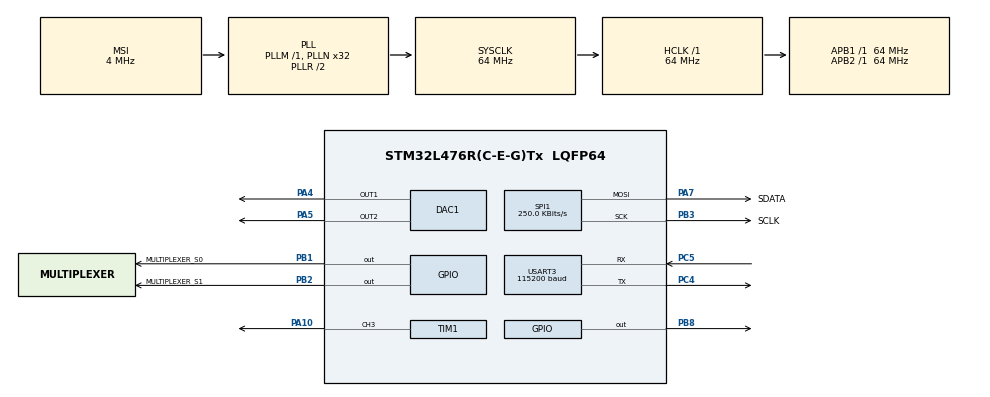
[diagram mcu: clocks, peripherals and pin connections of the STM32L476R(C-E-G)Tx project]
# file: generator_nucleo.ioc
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DAC1.DAC_Channel-DAC_OUT2=DAC_CHANNEL_2
FREERTOS.INCLUDE_vTaskDelayUntil=1
FREERTOS.Tasks01=defaultTask,0,128,StartDefaultTask,Default,NULL,Dynamic,NULL,NULL;FreeRTOS_1ms,0,128,RTOS_1ms,Default,NULL,Dynamic,NULL,NULL;FreeRTOS_10ms,0,128,RTOS_10ms,Default,NULL,Dynamic,NULL,NULL;FreeRTOS_100ms,0,128,RTOS_100ms,Default,NULL,Dynamic,NULL,NULL;FreeRTOS_1000ms,0,128,RTOS_1000ms,Default,NULL,Dynamic,NULL,NULL
FREERTOS.configGENERATE_RUN_TIME_STATS=1
FREERTOS.configTOTAL_HEAP_SIZE=4000
FREERTOS.configUSE_STATS_FORMATTING_FUNCTIONS=1
FREERTOS.configUSE_TRACE_FACILITY=1
Mcu.Family=STM32L4
Mcu.Name=STM32L476R(C-E-G)Tx
Mcu.Package=LQFP64
NVIC.PriorityGroup=NVIC_PRIORITYGROUP_4
NVIC.TIM2_IRQn=true\:5\:0\:false\:false\:true\:true\:true\:true
NVIC.USART3_IRQn=true\:5\:0\:false\:false\:true\:true\:true\:true
PA10.Signal=S_TIM1_CH3
PA13\ (JTMS-SWDIO).Mode=Serial_Wire
PA13\ (JTMS-SWDIO).Signal=SYS_JTMS-SWDIO
PA14\ (JTCK-SWCLK).Mode=Serial_Wire
PA14\ (JTCK-SWCLK).Signal=SYS_JTCK-SWCLK
PA4.Signal=COMP_DAC11_group
PA5.Signal=COMP_DAC12_group
PA7.GPIO_Label=SDATA
PA7.Mode=TX_Only_Simplex_Unidirect_Master
PA7.Signal=SPI1_MOSI
PB1.GPIO_Label=MULTIPLEXER_S0
PB1.Signal=GPIO_Output
PB2.GPIO_Label=MULTIPLEXER_S1
PB2.Signal=GPIO_Output
PB3\ (JTDO-TRACESWO).GPIO_Label=SCLK
PB3\ (JTDO-TRACESWO).Mode=TX_Only_Simplex_Unidirect_Master
PB3\ (JTDO-TRACESWO).Signal=SPI1_SCK
PB8.Signal=GPIO_Output
PC4.Mode=Asynchronous
PC4.Signal=USART3_TX
PC5.Mode=Asynchronous
PC5.Signal=USART3_RX
PH0-OSC_IN\ (PH0).Mode=HSE-External-Oscillator
PH0-OSC_IN\ (PH0).Signal=RCC_OSC_IN
PH1-OSC_OUT\ (PH1).Mode=HSE-External-Oscillator
PH1-OSC_OUT\ (PH1).Signal=RCC_OSC_OUT
ProjectManager.HeapSize=0x200
ProjectManager.StackSize=0x400
ProjectManager.TargetToolchain=STM32CubeIDE
RCC.AHBFreq_Value=64000000
RCC.APB1Freq_Value=64000000
RCC.APB1TimFreq_Value=64000000
RCC.APB2Freq_Value=64000000
RCC.APB2TimFreq_Value=64000000
RCC.CortexFreq_Value=64000000
RCC.HCLKFreq_Value=64000000
RCC.HSE_VALUE=8000000
RCC.HSI_VALUE=16000000
RCC.LSE_VALUE=32768
RCC.MSI_VALUE=4000000
RCC.PLLN=32
RCC.SYSCLKFreq_VALUE=64000000
RCC.SYSCLKSource=RCC_SYSCLKSOURCE_PLLCLK
RCC.VCOOutputFreq_Value=128000000
SH.COMP_DAC11_group.0=DAC1_OUT1,DAC_OUT1
SH.COMP_DAC12_group.0=DAC1_OUT2,DAC_OUT2
SH.S_TIM1_CH3.0=TIM1_CH3,PWM Generation3 CH3
SPI1.BaudRatePrescaler=SPI_BAUDRATEPRESCALER_256
SPI1.CLKPolarity=SPI_POLARITY_HIGH
SPI1.CalculateBaudRate=250.0 KBits/s
SPI1.DataSize=SPI_DATASIZE_16BIT
SPI1.Direction=SPI_DIRECTION_2LINES
SPI1.Mode=SPI_MODE_MASTER
SPI1.NSSPMode=SPI_NSS_PULSE_DISABLE
SPI1.VirtualType=VM_MASTER
TIM1.Channel-PWM\ Generation3\ CH3=TIM_CHANNEL_3
TIM1.Period=99
TIM2.Period=9
TIM2.Prescaler=63
USART3.BaudRate=115200
USART3.VirtualMode-Asynchronous=VM_ASYNC
VP_FREERTOS_VS_CMSIS_V1.Mode=CMSIS_V1
VP_TIM1_VS_ClockSourceINT.Mode=Internal
VP_TIM2_VS_ClockSourceINT.Mode=Internal
board=custom

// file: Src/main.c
/* USER CODE BEGIN Header */
/**
  ******************************************************************************
  * @file           : main.c
  * @brief          : Main program body
  ******************************************************************************
  * @attention
  *
  * <h2><center>&copy; Copyright (c) 2019 STMicroelectronics.
  * All rights reserved.</center></h2>
  *
  * This software component is licensed by ST under BSD 3-Clause license,
  * the "License"; You may not use this file except in compliance with the
  * License. You may obtain a copy of the License at:
  *                        opensource.org/licenses/BSD-3-Clause
  *
  ******************************************************************************
  */
/* USER CODE END Header */

#include "main.h"
#include "cmsis_os.h"

/* USER CODE BEGIN Includes */
#include <string.h>
#include <stdlib.h>
#include <stdio.h>
#include <math.h>

#include "Errors.h"
#include "SCPI.h"
/* USER CODE END Includes */

/* USER CODE BEGIN PD */
#define MAX_RECEIVE_BUFFER_SIZE 			(128u)
#define MAX_SEND_BUFFER_SIZE 				(512u)
#define MAX_SCPI_ANSWER_BUFFER_SIZE 		(512u)

#define PI 3.141592654

/* USER CODE END PD */

DAC_HandleTypeDef hdac1;

SPI_HandleTypeDef hspi1;

TIM_HandleTypeDef htim1;
TIM_HandleTypeDef htim2;

UART_HandleTypeDef huart3;

osThreadId defaultTaskHandle;
osThreadId FreeRTOS_1msHandle;
osThreadId FreeRTOS_10msHandle;
osThreadId FreeRTOS_100msHandle;
osThreadId FreeRTOS_1000msHandle;
/* USER CODE BEGIN PV */
uint32_t Microseconds = 0;
uint8_t PWM_Duty;
uint32_t PWM_Freq;
uint32_t PWM_Prescaler;

uint16_t control_reg[1];
uint16_t freq0_reg_lsb[1] = {0x4000};
uint16_t freq0_reg_msb[1] = {0x4000};
uint16_t freq1_reg_lsb[1] = {0x8000};
uint16_t freq1_reg_msb[1] = {0x8000};
uint16_t phase0_reg[1];
uint16_t exit_reg[1];

uint32_t freq;
uint32_t freq_reg_value;

signal_type_T signal_type;
signal_type_T setSignalType;
uint32_t setSignalFreq;
uint8_t setSignalFlag = 0;

uint16_t dacStep;
dac_signal_type_T dacSignalSelect;

uint16_t gauss_value;
uint16_t gauss_mean;
uint16_t gauss_std_dev;

multiplexer_select_T multiplexerChannelSelect;

uint8_t receive_buffer[MAX_RECEIVE_BUFFER_SIZE] = "";
uint8_t send_buffer[MAX_SEND_BUFFER_SIZE] = "";
uint8_t SCPI_buffer[MAX_SCPI_ANSWER_BUFFER_SIZE] = "";
volatile uint8_t receiveByte = '\0';

uint32_t i = 0;

/* USER CODE END PV */

void SystemClock_Config(void);
static void MX_GPIO_Init(void);
static void MX_SPI1_Init(void);
static void MX_DAC1_Init(void);
static void MX_TIM1_Init(void);
static void MX_USART3_UART_Init(void);
static void MX_TIM2_Init(void);
void StartDefaultTask(void const * argument);
void RTOS_1ms(void const * argument);
void RTOS_10ms(void const * argument);
void RTOS_100ms(void const * argument);
void RTOS_1000ms(void const * argument);

/* USER CODE BEGIN PFP */

void HAL_UART_RxCpltCallback(UART_HandleTypeDef *huart);

void HAL_TIM_PeriodElapsedCallback(TIM_HandleTypeDef *htim);

void HAL_Delay10Microseconds(uint32_t DelayMicroseconds);
void GenerateAD9833Signal(signal_type_T, uint32_t);
void SetSignalType(signal_type_T);
void CalculateFrequency(uint32_t);
void GeneratePWMSignal(uint8_t, uint32_t);
void MultiplexerChannelSelect(multiplexer_select_T);

double gaussrand(void);
/* USER CODE END PFP */

int main(void)
{
  /* USER CODE BEGIN 1 */
	control_reg[0] = 0x2100;
	phase0_reg[0] = 0xC000;

  /* USER CODE END 1 */

  /* MCU Configuration--------------------------------------------------------*/

  /* Reset of all peripherals, Initializes the Flash interface and the Systick. */
  HAL_Init();

  /* Configure the system clock */
  SystemClock_Config();

  /* Initialize all configured peripherals */
  MX_GPIO_Init();
  MX_SPI1_Init();
  MX_DAC1_Init();
  MX_TIM1_Init();
  MX_USART3_UART_Init();
  MX_TIM2_Init();
  /* USER CODE BEGIN 2 */

  HAL_UART_Receive_IT(&huart3, &receiveByte, 1);
  HAL_TIM_PWM_Start(&htim1, TIM_CHANNEL_3);
  HAL_TIM_Base_Start_IT(&htim2);
  HAL_DAC_Start(&hdac1, DAC_CHANNEL_1);
  HAL_DAC_Start(&hdac1, DAC_CHANNEL_2);

  PWM_Freq = 10000;
  PWM_Duty = 25;
  setSignalFreq = 5000;

  gauss_mean = 2048;
  gauss_std_dev = 500;

  GeneratePWMSignal(PWM_Duty, PWM_Freq);
  GenerateAD9833Signal(SIN, setSignalFreq);
  MultiplexerChannelSelect(AD9833);
  /* USER CODE END 2 */

  /* Create the thread(s) */
  /* definition and creation of defaultTask */
  osThreadDef(defaultTask, StartDefaultTask, osPriorityNormal, 0, 128);
  defaultTaskHandle = osThreadCreate(osThread(defaultTask), NULL);

  /* definition and creation of FreeRTOS_1ms */
  osThreadDef(FreeRTOS_1ms, RTOS_1ms, osPriorityNormal, 0, 128);
  FreeRTOS_1msHandle = osThreadCreate(osThread(FreeRTOS_1ms), NULL);

  /* definition and creation of FreeRTOS_10ms */
  osThreadDef(FreeRTOS_10ms, RTOS_10ms, osPriorityNormal, 0, 128);
  FreeRTOS_10msHandle = osThreadCreate(osThread(FreeRTOS_10ms), NULL);

  /* definition and creation of FreeRTOS_100ms */
  osThreadDef(FreeRTOS_100ms, RTOS_100ms, osPriorityNormal, 0, 128);
  FreeRTOS_100msHandle = osThreadCreate(osThread(FreeRTOS_100ms), NULL);

  /* definition and creation of FreeRTOS_1000ms */
  osThreadDef(FreeRTOS_1000ms, RTOS_1000ms, osPriorityNormal, 0, 128);
  FreeRTOS_1000msHandle = osThreadCreate(osThread(FreeRTOS_1000ms), NULL);

  /* Start scheduler */
  osKernelStart();

  /* We should never get here as control is now taken by the scheduler */

  /* Infinite loop */
  /* USER CODE BEGIN WHILE */
  while (1)
  {
	  HAL_Delay(1);
    /* USER CODE END WHILE */

  }
}

void SystemClock_Config(void)
{
  RCC_OscInitTypeDef RCC_OscInitStruct = {0};
  RCC_ClkInitTypeDef RCC_ClkInitStruct = {0};
  RCC_PeriphCLKInitTypeDef PeriphClkInit = {0};

  /** Initializes the CPU, AHB and APB busses clocks
  */
  RCC_OscInitStruct.OscillatorType = RCC_OSCILLATORTYPE_MSI;
  RCC_OscInitStruct.MSIState = RCC_MSI_ON;
  RCC_OscInitStruct.MSICalibrationValue = 0;
  RCC_OscInitStruct.MSIClockRange = RCC_MSIRANGE_6;
  RCC_OscInitStruct.PLL.PLLState = RCC_PLL_ON;
  RCC_OscInitStruct.PLL.PLLSource = RCC_PLLSOURCE_MSI;
  RCC_OscInitStruct.PLL.PLLM = 1;
  RCC_OscInitStruct.PLL.PLLN = 32;
  RCC_OscInitStruct.PLL.PLLP = RCC_PLLP_DIV7;
  RCC_OscInitStruct.PLL.PLLQ = RCC_PLLQ_DIV2;
  RCC_OscInitStruct.PLL.PLLR = RCC_PLLR_DIV2;
  if (HAL_RCC_OscConfig(&RCC_OscInitStruct) != HAL_OK)
  {
    Error_Handler();
  }
  /** Initializes the CPU, AHB and APB busses clocks
  */
  RCC_ClkInitStruct.ClockType = RCC_CLOCKTYPE_HCLK|RCC_CLOCKTYPE_SYSCLK
                              |RCC_CLOCKTYPE_PCLK1|RCC_CLOCKTYPE_PCLK2;
  RCC_ClkInitStruct.SYSCLKSource = RCC_SYSCLKSOURCE_PLLCLK;
  RCC_ClkInitStruct.AHBCLKDivider = RCC_SYSCLK_DIV1;
  RCC_ClkInitStruct.APB1CLKDivider = RCC_HCLK_DIV1;
  RCC_ClkInitStruct.APB2CLKDivider = RCC_HCLK_DIV1;

  if (HAL_RCC_ClockConfig(&RCC_ClkInitStruct, FLASH_LATENCY_3) != HAL_OK)
  {
    Error_Handler();
  }
  PeriphClkInit.PeriphClockSelection = RCC_PERIPHCLK_USART3;
  PeriphClkInit.Usart3ClockSelection = RCC_USART3CLKSOURCE_PCLK1;
  if (HAL_RCCEx_PeriphCLKConfig(&PeriphClkInit) != HAL_OK)
  {
    Error_Handler();
  }
  /** Configure the main internal regulator output voltage
  */
  if (HAL_PWREx_ControlVoltageScaling(PWR_REGULATOR_VOLTAGE_SCALE1) != HAL_OK)
  {
    Error_Handler();
  }
}

static void MX_DAC1_Init(void)
{

  DAC_ChannelConfTypeDef sConfig = {0};

  /** DAC Initialization
  */
  hdac1.Instance = DAC1;
  if (HAL_DAC_Init(&hdac1) != HAL_OK)
  {
    Error_Handler();
  }
  /** DAC channel OUT1 config
  */
  sConfig.DAC_SampleAndHold = DAC_SAMPLEANDHOLD_DISABLE;
  sConfig.DAC_Trigger = DAC_TRIGGER_NONE;
  sConfig.DAC_OutputBuffer = DAC_OUTPUTBUFFER_ENABLE;
  sConfig.DAC_ConnectOnChipPeripheral = DAC_CHIPCONNECT_DISABLE;
  sConfig.DAC_UserTrimming = DAC_TRIMMING_FACTORY;
  if (HAL_DAC_ConfigChannel(&hdac1, &sConfig, DAC_CHANNEL_1) != HAL_OK)
  {
    Error_Handler();
  }
  /** DAC channel OUT2 config
  */
  sConfig.DAC_ConnectOnChipPeripheral = DAC_CHIPCONNECT_DISABLE;
  if (HAL_DAC_ConfigChannel(&hdac1, &sConfig, DAC_CHANNEL_2) != HAL_OK)
  {
    Error_Handler();
  }

}

static void MX_SPI1_Init(void)
{

  /* SPI1 parameter configuration*/
  hspi1.Instance = SPI1;
  hspi1.Init.Mode = SPI_MODE_MASTER;
  hspi1.Init.Direction = SPI_DIRECTION_2LINES;
  hspi1.Init.DataSize = SPI_DATASIZE_16BIT;
  hspi1.Init.CLKPolarity = SPI_POLARITY_HIGH;
  hspi1.Init.CLKPhase = SPI_PHASE_1EDGE;
  hspi1.Init.NSS = SPI_NSS_SOFT;
  hspi1.Init.BaudRatePrescaler = SPI_BAUDRATEPRESCALER_256;
  hspi1.Init.FirstBit = SPI_FIRSTBIT_MSB;
  hspi1.Init.TIMode = SPI_TIMODE_DISABLE;
  hspi1.Init.CRCCalculation = SPI_CRCCALCULATION_DISABLE;
  hspi1.Init.CRCPolynomial = 7;
  hspi1.Init.CRCLength = SPI_CRC_LENGTH_DATASIZE;
  hspi1.Init.NSSPMode = SPI_NSS_PULSE_DISABLE;
  if (HAL_SPI_Init(&hspi1) != HAL_OK)
  {
    Error_Handler();
  }

}

static void MX_TIM1_Init(void)
{

  TIM_ClockConfigTypeDef sClockSourceConfig = {0};
  TIM_MasterConfigTypeDef sMasterConfig = {0};
  TIM_OC_InitTypeDef sConfigOC = {0};
  TIM_BreakDeadTimeConfigTypeDef sBreakDeadTimeConfig = {0};

  htim1.Instance = TIM1;
  htim1.Init.Prescaler = 0;
  htim1.Init.CounterMode = TIM_COUNTERMODE_UP;
  htim1.Init.Period = 99;
  htim1.Init.ClockDivision = TIM_CLOCKDIVISION_DIV1;
  htim1.Init.RepetitionCounter = 0;
  htim1.Init.AutoReloadPreload = TIM_AUTORELOAD_PRELOAD_DISABLE;
  if (HAL_TIM_Base_Init(&htim1) != HAL_OK)
  {
    Error_Handler();
  }
  sClockSourceConfig.ClockSource = TIM_CLOCKSOURCE_INTERNAL;
  if (HAL_TIM_ConfigClockSource(&htim1, &sClockSourceConfig) != HAL_OK)
  {
    Error_Handler();
  }
  if (HAL_TIM_PWM_Init(&htim1) != HAL_OK)
  {
    Error_Handler();
  }
  sMasterConfig.MasterOutputTrigger = TIM_TRGO_RESET;
  sMasterConfig.MasterOutputTrigger2 = TIM_TRGO2_RESET;
  sMasterConfig.MasterSlaveMode = TIM_MASTERSLAVEMODE_DISABLE;
  if (HAL_TIMEx_MasterConfigSynchronization(&htim1, &sMasterConfig) != HAL_OK)
  {
    Error_Handler();
  }
  sConfigOC.OCMode = TIM_OCMODE_PWM1;
  sConfigOC.Pulse = 0;
  sConfigOC.OCPolarity = TIM_OCPOLARITY_HIGH;
  sConfigOC.OCNPolarity = TIM_OCNPOLARITY_HIGH;
  sConfigOC.OCFastMode = TIM_OCFAST_DISABLE;
  sConfigOC.OCIdleState = TIM_OCIDLESTATE_RESET;
  sConfigOC.OCNIdleState = TIM_OCNIDLESTATE_RESET;
  if (HAL_TIM_PWM_ConfigChannel(&htim1, &sConfigOC, TIM_CHANNEL_3) != HAL_OK)
  {
    Error_Handler();
  }
  sBreakDeadTimeConfig.OffStateRunMode = TIM_OSSR_DISABLE;
  sBreakDeadTimeConfig.OffStateIDLEMode = TIM_OSSI_DISABLE;
  sBreakDeadTimeConfig.LockLevel = TIM_LOCKLEVEL_OFF;
  sBreakDeadTimeConfig.DeadTime = 0;
  sBreakDeadTimeConfig.BreakState = TIM_BREAK_DISABLE;
  sBreakDeadTimeConfig.BreakPolarity = TIM_BREAKPOLARITY_HIGH;
  sBreakDeadTimeConfig.BreakFilter = 0;
  sBreakDeadTimeConfig.Break2State = TIM_BREAK2_DISABLE;
  sBreakDeadTimeConfig.Break2Polarity = TIM_BREAK2POLARITY_HIGH;
  sBreakDeadTimeConfig.Break2Filter = 0;
  sBreakDeadTimeConfig.AutomaticOutput = TIM_AUTOMATICOUTPUT_DISABLE;
  if (HAL_TIMEx_ConfigBreakDeadTime(&htim1, &sBreakDeadTimeConfig) != HAL_OK)
  {
    Error_Handler();
  }
  HAL_TIM_MspPostInit(&htim1);

}

static void MX_TIM2_Init(void)
{

  TIM_ClockConfigTypeDef sClockSourceConfig = {0};
  TIM_MasterConfigTypeDef sMasterConfig = {0};

  htim2.Instance = TIM2;
  htim2.Init.Prescaler = 63;
  htim2.Init.CounterMode = TIM_COUNTERMODE_UP;
  htim2.Init.Period = 9;
  htim2.Init.ClockDivision = TIM_CLOCKDIVISION_DIV1;
  htim2.Init.AutoReloadPreload = TIM_AUTORELOAD_PRELOAD_DISABLE;
  if (HAL_TIM_Base_Init(&htim2) != HAL_OK)
  {
    Error_Handler();
  }
  sClockSourceConfig.ClockSource = TIM_CLOCKSOURCE_INTERNAL;
  if (HAL_TIM_ConfigClockSource(&htim2, &sClockSourceConfig) != HAL_OK)
  {
    Error_Handler();
  }
  sMasterConfig.MasterOutputTrigger = TIM_TRGO_RESET;
  sMasterConfig.MasterSlaveMode = TIM_MASTERSLAVEMODE_DISABLE;
  if (HAL_TIMEx_MasterConfigSynchronization(&htim2, &sMasterConfig) != HAL_OK)
  {
    Error_Handler();
  }

}

static void MX_USART3_UART_Init(void)
{

  huart3.Instance = USART3;
  huart3.Init.BaudRate = 115200;
  huart3.Init.WordLength = UART_WORDLENGTH_8B;
  huart3.Init.StopBits = UART_STOPBITS_1;
  huart3.Init.Parity = UART_PARITY_NONE;
  huart3.Init.Mode = UART_MODE_TX_RX;
  huart3.Init.HwFlowCtl = UART_HWCONTROL_NONE;
  huart3.Init.OverSampling = UART_OVERSAMPLING_16;
  huart3.Init.OneBitSampling = UART_ONE_BIT_SAMPLE_DISABLE;
  huart3.AdvancedInit.AdvFeatureInit = UART_ADVFEATURE_NO_INIT;
  if (HAL_UART_Init(&huart3) != HAL_OK)
  {
    Error_Handler();
  }

}

static void MX_GPIO_Init(void)
{
  GPIO_InitTypeDef GPIO_InitStruct = {0};

  /* GPIO Ports Clock Enable */
  __HAL_RCC_GPIOH_CLK_ENABLE();
  __HAL_RCC_GPIOA_CLK_ENABLE();
  __HAL_RCC_GPIOC_CLK_ENABLE();
  __HAL_RCC_GPIOB_CLK_ENABLE();

  /*Configure GPIO pin Output Level */
  HAL_GPIO_WritePin(GPIOB, MULTIPLEXER_S0_Pin|MULTIPLEXER_S1_Pin|GPIO_PIN_8, GPIO_PIN_RESET);

  /*Configure GPIO pins : MULTIPLEXER_S0_Pin MULTIPLEXER_S1_Pin PB8 */
  GPIO_InitStruct.Pin = MULTIPLEXER_S0_Pin|MULTIPLEXER_S1_Pin|GPIO_PIN_8;
  GPIO_InitStruct.Mode = GPIO_MODE_OUTPUT_PP;
  GPIO_InitStruct.Pull = GPIO_NOPULL;
  GPIO_InitStruct.Speed = GPIO_SPEED_FREQ_LOW;
  HAL_GPIO_Init(GPIOB, &GPIO_InitStruct);

}

/* USER CODE BEGIN 4 */

void HAL_UART_RxCpltCallback(UART_HandleTypeDef *huart) {
		ERROR_CODE errorCode = 0x00;
		static uint16_t counter = 0;
		static uint8_t FLAG_needsCleaning = 0;
		uint16_t size = 0;
		char sin[] = "SIN";
		char tri[] = "TRI";

		if (1 == FLAG_needsCleaning)
		{
			memset(receive_buffer,'\0',(MAX_RECEIVE_BUFFER_SIZE*sizeof(receive_buffer[0])));
			memset(send_buffer,'\0',(MAX_SEND_BUFFER_SIZE*sizeof(send_buffer[0])));
			memset(SCPI_buffer,'\0',(MAX_SCPI_ANSWER_BUFFER_SIZE*sizeof(SCPI_buffer[0])));
			FLAG_needsCleaning = 0;
		}

		if ('\r' != receiveByte && '\n' != receiveByte)
		{
			if (counter <= MAX_RECEIVE_BUFFER_SIZE)
			{
				receive_buffer[counter] = receiveByte;
			}
			++counter;
		}

		else
		{
			errorCode = Process_SCPI_Message(receive_buffer, SCPI_buffer);
			if(0 == errorCode)
				size = sprintf(send_buffer, "Message correct!: \"%s\".\n\r%s\n\r", receive_buffer,SCPI_buffer);
			else
				size = sprintf(send_buffer, "!!Message incorrect!! \n\rError Code: (%d) %s \n\rReceived message: \"%s\"\n\r", errorCode, Return_Error_Description(errorCode), receive_buffer);

			HAL_UART_Transmit_IT(&huart3, send_buffer, size);
			counter = 0;
			FLAG_needsCleaning = 1;
		}
		HAL_UART_Receive_IT(&huart3, &receiveByte, 1);
}

void GenerateAD9833Signal(signal_type_T signal_type, uint32_t freq)
{
	SetSignalType(signal_type);
	CalculateFrequency(freq);

    exit_reg[0] = control_reg[0] & 0xEFF;

    HAL_GPIO_WritePin(GPIOB, GPIO_PIN_8, GPIO_PIN_RESET);
    HAL_SPI_Transmit(&hspi1, (uint8_t*)control_reg, 1, HAL_MAX_DELAY);
    HAL_GPIO_WritePin(GPIOB, GPIO_PIN_8, GPIO_PIN_SET);
    HAL_Delay(10);

    HAL_GPIO_WritePin(GPIOB, GPIO_PIN_8, GPIO_PIN_RESET);
    HAL_SPI_Transmit(&hspi1, (uint8_t*)freq0_reg_lsb, 1, HAL_MAX_DELAY);
    HAL_GPIO_WritePin(GPIOB, GPIO_PIN_8, GPIO_PIN_SET);
    HAL_Delay(10);

    HAL_GPIO_WritePin(GPIOB, GPIO_PIN_8, GPIO_PIN_RESET);
    HAL_SPI_Transmit(&hspi1, (uint8_t*)freq0_reg_msb, 1, HAL_MAX_DELAY);
    HAL_GPIO_WritePin(GPIOB, GPIO_PIN_8, GPIO_PIN_SET);
    HAL_Delay(10);

    HAL_GPIO_WritePin(GPIOB, GPIO_PIN_8, GPIO_PIN_RESET);
    HAL_SPI_Transmit(&hspi1, (uint8_t*)phase0_reg, 1, HAL_MAX_DELAY);
    HAL_GPIO_WritePin(GPIOB, GPIO_PIN_8, GPIO_PIN_SET);
    HAL_Delay(10);

    HAL_GPIO_WritePin(GPIOB, GPIO_PIN_8, GPIO_PIN_RESET);
    HAL_SPI_Transmit(&hspi1, (uint8_t*)exit_reg, 1, HAL_MAX_DELAY);
    HAL_GPIO_WritePin(GPIOB, GPIO_PIN_8, GPIO_PIN_SET);
    HAL_Delay(10);
}

void SetSignalType(signal_type_T signal_type)
{
  if (signal_type == SIN)
  {
    control_reg[0] &= ~(0b100010);
  }
  else if (signal_type == TRIANGLE)
  {
    control_reg[0] &= ~(0b100000);
    control_reg[0] |= 0b10;
  }
  else if (signal_type == SQUARE)
  {
    control_reg[0] &= ~(0b10);
    control_reg[0] |= 0b101000;
  }
}

void CalculateFrequency(uint32_t freq)
{
	freq_reg_value = (uint32_t)freq * 10.737;
	freq0_reg_lsb[0] = (freq_reg_value & ~(0xFFFC000));
	freq0_reg_lsb[0] |= 0x4000;
	freq0_reg_lsb[0] &= ~(0x8000);
	freq0_reg_msb[0] = (freq_reg_value & 0xFFFC000) >> 14;
	freq0_reg_msb[0] |= 0x4000;
	freq0_reg_msb[0] &= ~(0x8000);
}

void GeneratePWMSignal(uint8_t duty, uint32_t freq)
{
	PWM_Prescaler = (640000/freq) - 1;
	TIM1->PSC = PWM_Prescaler;
	TIM1->CCR3 = duty;
}

void MultiplexerChannelSelect(multiplexer_select_T channel)
{
	switch(channel)
	{
		case AD9833:
		{
			HAL_GPIO_WritePin(MULTIPLEXER_S0_GPIO_Port, MULTIPLEXER_S0_Pin, GPIO_PIN_RESET);
			HAL_GPIO_WritePin(MULTIPLEXER_S1_GPIO_Port, MULTIPLEXER_S1_Pin, GPIO_PIN_RESET);
			break;
		}
		case CA_CH1:
		{
			HAL_GPIO_WritePin(MULTIPLEXER_S0_GPIO_Port, MULTIPLEXER_S0_Pin, GPIO_PIN_SET);
			HAL_GPIO_WritePin(MULTIPLEXER_S1_GPIO_Port, MULTIPLEXER_S1_Pin, GPIO_PIN_RESET);
			break;
		}
		case PWM:
		{
			HAL_GPIO_WritePin(MULTIPLEXER_S0_GPIO_Port, MULTIPLEXER_S0_Pin, GPIO_PIN_RESET);
			HAL_GPIO_WritePin(MULTIPLEXER_S1_GPIO_Port, MULTIPLEXER_S1_Pin, GPIO_PIN_SET);
			break;
		}
	}
}

double gaussrand()
{
    static double U, V;
    static int phase = 0;
    double Z;

    if(phase == 0) {
        U = (rand() + 1.) / (RAND_MAX + 2.);
        V = rand() / (RAND_MAX + 1.);
        Z = sqrt(-2 * log(U)) * sin(2 * PI * V);
    } else
        Z = sqrt(-2 * log(U)) * cos(2 * PI * V);

    phase = 1 - phase;

    return Z;
}

void HAL_TIM_PeriodElapsedCallback(TIM_HandleTypeDef *htim)
{
	if(htim->Instance == TIM2)
	{
		if(SAWTOOTH == dacSignalSelect)
		{
			  HAL_DAC_SetValue(&hdac1, DAC_CHANNEL_1, DAC_ALIGN_12B_R, i);
			  i = i + dacStep;
			  if (i >= 4095)
			  {
				  i = 0;
			  }
		}
	}
}
/* USER CODE END 4 */

void StartDefaultTask(void const * argument)
{

  /* USER CODE BEGIN 5 */
  /* Infinite loop */
  for(;;)
  {
	  if (setSignalFlag == 1) {
	  		  if (multiplexerChannelSelect == AD9833)
	  		  {
	  			  GenerateAD9833Signal(setSignalType, setSignalFreq);
	  			  MultiplexerChannelSelect(multiplexerChannelSelect);
	  		  }
	  		  else if (multiplexerChannelSelect == CA_CH1)
	  		  {
	  			  MultiplexerChannelSelect(multiplexerChannelSelect);
	  		  }
	  		  else if (multiplexerChannelSelect == PWM)
	  		  {
	  			  GeneratePWMSignal(PWM_Duty, PWM_Freq);
	  			  MultiplexerChannelSelect(multiplexerChannelSelect);
	  		  }
	  		  setSignalFlag = 0;
	  		}

	  	  if (GAUSSIAN == dacSignalSelect)
	  	  {
	  		  gauss_value = gauss_std_dev * gaussrand() + gauss_mean;
	  		  HAL_DAC_SetValue(&hdac1, DAC_CHANNEL_1, DAC_ALIGN_12B_R, gauss_value);
	  	  }
  }
  /* USER CODE END 5 */
}

void RTOS_1ms(void const * argument)
{
  /* USER CODE BEGIN RTOS_1ms */

	const TickType_t xFrequency = 1;

  /* Infinite loop */
  for(;;)
  {
	  vTaskDelay( xFrequency / portTICK_RATE_MS );
  }
  /* USER CODE END RTOS_1ms */
}

void RTOS_10ms(void const * argument)
{
  /* USER CODE BEGIN RTOS_10ms */

	const TickType_t xFrequency = 10;

  /* Infinite loop */
  for(;;)
  {
	  vTaskDelay( xFrequency / portTICK_RATE_MS );
  }
  /* USER CODE END RTOS_10ms */
}

void RTOS_100ms(void const * argument)
{
  /* USER CODE BEGIN RTOS_100ms */

	const TickType_t xFrequency = 100;

  /* Infinite loop */
  for(;;)
  {
	  vTaskDelay( xFrequency / portTICK_RATE_MS );
  }
  /* USER CODE END RTOS_100ms */
}

void RTOS_1000ms(void const * argument)
{
  /* USER CODE BEGIN RTOS_1000ms */

	const TickType_t xFrequency = 1000;

  /* Infinite loop */
  for(;;)
  {
	  vTaskDelay( xFrequency / portTICK_RATE_MS );
  }
  /* USER CODE END RTOS_1000ms */
}

void Error_Handler(void)
{
}

/************************ (C) COPYRIGHT STMicroelectronics *****END OF FILE****/
